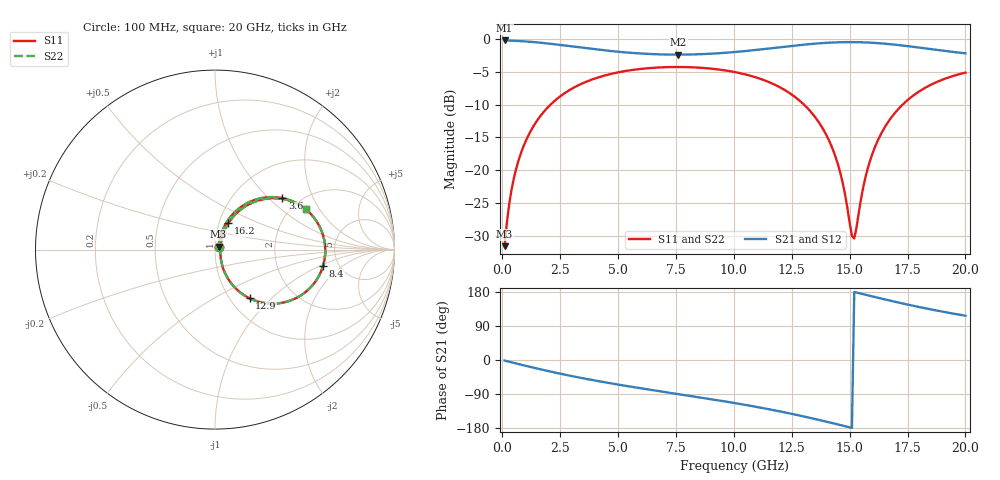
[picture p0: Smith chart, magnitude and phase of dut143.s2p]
! Touchstone file exported from HFSS 2026.1.0
!  File:  C:/ffzhzh/LocalFiles/Ansys_Project_Files/temp_train_TSV_RDL_143_1783050888_36532.aedt
!  Generated:  12:05:20 PM Jul  3, 2026
!  Design:  TSV_RDL
!  Project:  temp_train_TSV_RDL_143_1783050888_36532
! Variables:
!  h_bsmrdl = 4.28um
!  h_ox = 20um
!  h_rdl = 5um
!  h_sub = 54.98um
!  h_tmrdl = 5.75um
!  h_tsv = 54.98um
!  h_via = 3um
!  l_bsmrdl = 972.59um
!  l_sub = 4128.54um
!  l_tmrdl = 177.47um
!  m_sub = 200um
!  pitch = 52.34um
!  r_tsv = 14.81um
!  s_tmrdl = 10um
!  w_bsmrdl = 14.35um
!  w_sub = 500um
!  w_tmrdl = 19.28um
!  x_tsv_center1 = 187.11um
!  x_tsv_center2 = 1174.05um
!  x_tsv_center3 = 1370.8um
!  x_tsv_center4 = 2357.74um
!  x_tsv_center5 = 2554.49um
!  x_tsv_center6 = 3541.43um
# GHz S MA R 50.000000
! Terminal data exported
! Port[1] = TM_RDL1_1_T1
! Port[2] = TM_RDL5_1_T1
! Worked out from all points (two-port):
!   200 points, 100 MHz to 20 GHz, reference 50 ohm
!   highest |S21| = -0.17 dB at 100 MHz (marker M1); lowest = -2.3 dB at 7.6 GHz (marker M2)
!   |S21| within 3 dB of the highest: start of sweep to end of sweep
!   lowest |S11| = -31.6 dB at 100 MHz (marker M3), VSWR 1.05, Z = 52 + j1.76 ohm
!   |S11| at or under -10 dB: start of sweep to 2.078 GHz; 13.03 GHz to 17.28 GHz (4.249 GHz wide, 28 % of centre)
!   |S22| runs from -31.6 to -4.2 dB; largest |S21 - S12| = 1.8e-14
!   S11 on the Smith chart (normalised r, x): 100 MHz: 1.04, +0.04; 3.6 GHz: 1.64, +1.21; 8.4 GHz: 3.77, -1.10; 12.9 GHz: 1.23, -0.75; 16.2 GHz: 1.11, +0.34; 20 GHz: 2.35, +1.55
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0.1  0.02626 40.1  0.9802 -1.6  0.9802 -1.6  0.02626 40.1
! Gamma 0 0 0 0
! Port Impedance 50 0 50 0
0.3  0.05535 63.4  0.978 -4.7  0.978 -4.7  0.05535 63.4
0.5  0.08688 68.0  0.975 -7.7  0.975 -7.7  0.08688 68.0
1.1  0.1802 66.1  0.9609 -16.6  0.9609 -16.6  0.1802 66.1
2.1  0.319 54.9  0.9236 -30.8  0.9236 -30.8  0.319 54.9
3.5  0.4641 38.5  0.8605 -48.4  0.8605 -48.4  0.4641 38.5
3.6  0.4722 37.4  0.8561 -49.6  0.8561 -49.6  0.4722 37.4
6.8  0.6099 5.8  0.7674 -82.4  0.7674 -82.4  0.6099 5.8
7.6  0.6146 -1.4  0.7639 -89.9  0.7639 -89.9  0.6146 -1.4
8.4  0.6088 -8.6  0.7681 -97.4  0.7681 -97.4  0.6088 -8.6
10.1  0.5594 -24.6  0.8015 -114.3  0.8015 -114.3  0.5594 -24.6
12.9  0.3326 -54.7  0.9058 -147.3  0.9058 -147.3  0.3326 -54.6
13.4  0.2691 -60.1  0.9235 -154.2  0.9235 -154.2  0.2692 -60.1
14.4  0.1252 -66.8  0.9478 -168.6  0.9478 -168.6  0.1253 -66.8
14.7  0.08018 -63.2  0.9511 -173.1  0.9511 -173.1  0.08026 -63.1
15.1  0.03139 -20.2  0.9523 -179.1  0.9523 -179.1  0.03156 -20.1
15.2  0.03011 8.6  0.952 179.4  0.952 179.4  0.03028 8.5
15.7  0.09064 61.5  0.9467 171.9  0.9467 171.9  0.09068 61.4
16.2  0.166 63.1  0.9357 164.5  0.9357 164.5  0.1661 63.0
16.7  0.2386 59.2  0.9199 157.3  0.9199 157.3  0.2386 59.2
18.1  0.4098 44.0  0.8606 138.6  0.8606 138.6  0.4097 44.0
20  0.5567 24.1  0.7812 116.8  0.7812 116.8  0.5567 24.1
